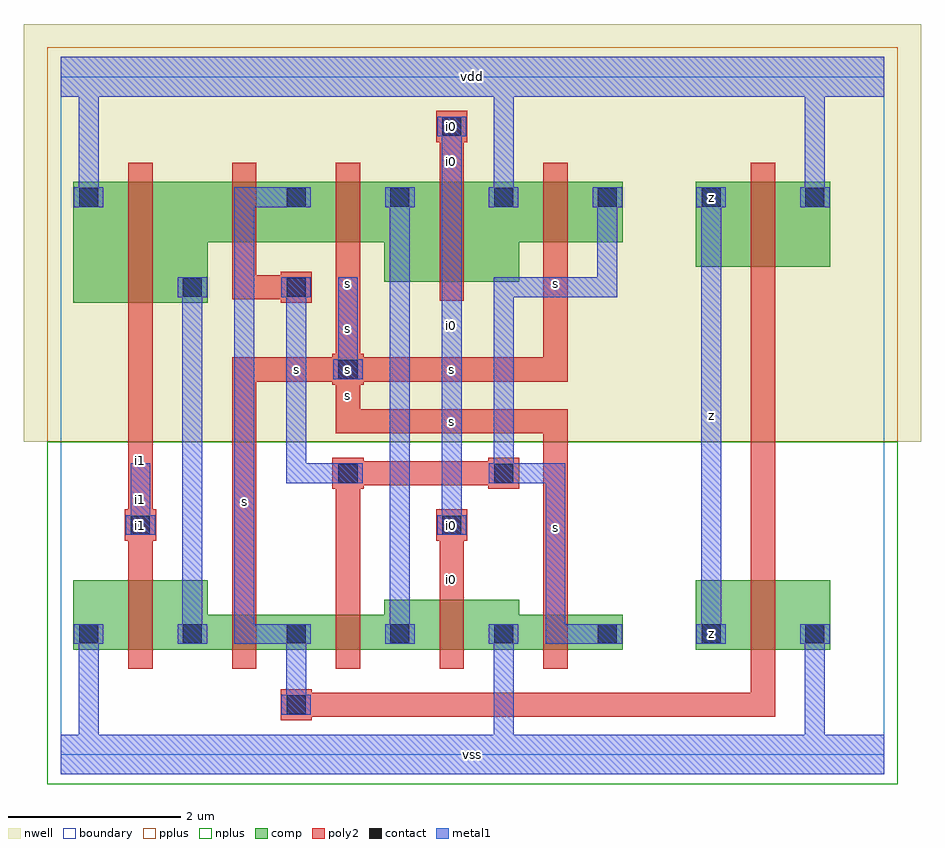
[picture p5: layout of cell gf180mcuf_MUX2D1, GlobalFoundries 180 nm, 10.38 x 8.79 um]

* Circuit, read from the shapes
.subckt gf180mcuf_MUX2D1 i0 i1 s vdd vss z
XM1 n1 i1 vss VSUBS nfet_03v3 w=0.8u l=0.28u
XM2 n2 s n1 VSUBS nfet_03v3 w=0.4u l=0.28u
XM3 n3 n4 n2 VSUBS nfet_03v3 w=0.4u l=0.28u
XM4 vss i0 n3 VSUBS nfet_03v3 w=0.575u l=0.28u
XM5 n4 s vss VSUBS nfet_03v3 w=0.4u l=0.28u
XM6 vss n2 z VSUBS nfet_03v3 w=0.8u l=0.28u
XM7 n1 i1 vdd n5 pfet_03v3 w=1.4u l=0.28u
XM8 n2 n4 n1 n5 pfet_03v3 w=0.7u l=0.28u
XM9 n3 s n2 n5 pfet_03v3 w=0.7u l=0.28u
XM10 vdd i0 n3 n5 pfet_03v3 w=1.155u l=0.28u
XM11 n4 s vdd n5 pfet_03v3 w=0.7u l=0.28u
XM12 vdd n2 z n5 pfet_03v3 w=0.98u l=0.28u
.ends

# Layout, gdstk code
import gdstk
lib = gdstk.Library(unit=1e-6, precision=1e-09)
def R(c, l, rs):  # rectangles x0, y0, x1, y1
    for r in rs: c.add(gdstk.rectangle(r[:2], r[2:], *l))
def A(c, l, x, y, w, h, nx, ny, dx, dy):  # array of equal rectangles
    R(c, l, [(x+i*dx, y+j*dy, x+i*dx+w, y+j*dy+h) for i in range(nx) for j in range(ny)])
boundary = (0, 0)
nwell = (21, 0)
comp = (22, 0)
poly2 = (30, 0)
pplus = (31, 0)
nplus = (32, 0)
contact = (33, 0)
metal1 = (34, 0)

gf180mcuf_mux2d1 = lib.new_cell('gf180mcuf_MUX2D1')
R(gf180mcuf_mux2d1, boundary, [(0,0,9.52,7.84)])
R(gf180mcuf_mux2d1, nwell, [(-0.43,3.62,9.95,8.45)])
A(gf180mcuf_mux2d1, comp, 0.14, 1.215, 0.36, 0.36, 8, 1, 1.2, 0)
A(gf180mcuf_mux2d1, comp, 2.54, 6.265, 0.36, 0.36, 6, 1, 1.2, 0)
R(gf180mcuf_mux2d1, comp, [(0.14,1.215,1.7,2.015), (1.34,1.215,2.9,1.615), (2.54,1.215,4.1,1.615), (3.74,1.215,5.3,1.79), (4.94,1.215,6.5,1.615), (7.34,1.215,8.9,2.015), (0.14,5.225,1.7,6.625), (1.34,5.225,1.7,5.585), (3.74,5.47,5.3,6.625), (7.34,5.645,8.9,6.625), (1.34,5.925,2.9,6.625), (2.54,5.925,4.1,6.625), (4.94,5.925,6.5,6.625), (0.14,6.265,0.5,6.625)])
R(gf180mcuf_mux2d1, poly2, [(2.54,0.395,2.9,0.755), (2.58,0.435,8.26,0.715), (7.98,0.435,8.26,1.535), (0.78,0.995,1.06,2.235), (1.98,0.995,2.26,1.835), (3.18,0.995,3.46,1.835), (4.38,0.995,4.66,2.01), (5.58,0.995,5.86,1.835), (7.98,0.995,8.26,2.235), (0.78,1.255,1.06,5.545), (1.98,1.255,2.26,4.595), (3.18,1.255,3.46,3.395), (4.38,1.255,4.66,2.795), (5.58,1.255,5.86,3.995), (7.98,1.255,8.26,6.585), (0.74,2.475,1.1,2.835), (4.34,2.475,4.7,2.835), (3.14,3.075,3.5,3.435), (4.94,3.075,5.3,3.435), (3.18,3.115,5.26,3.395), (3.18,3.715,5.86,3.995), (3.18,3.715,3.46,4.595), (3.14,4.275,3.5,4.635), (1.98,4.315,3.46,4.595), (3.18,4.315,3.46,6.585), (3.18,4.315,5.86,4.595), (5.58,4.315,5.86,6.585), (0.78,5.005,1.06,6.845), (2.54,5.225,2.9,5.585), (4.38,5.25,4.66,6.845), (1.98,5.265,2.86,5.545), (1.98,5.265,2.26,6.585), (7.98,5.425,8.26,6.845), (1.98,5.705,2.26,6.845), (3.18,5.705,3.46,6.845), (5.58,5.705,5.86,6.845), (4.38,6.305,4.66,7.405), (4.34,7.085,4.7,7.445)])
R(gf180mcuf_mux2d1, pplus, [(-0.16,3.62,9.68,7.5), (-0.16,7.5,9.68,8.18)])
R(gf180mcuf_mux2d1, nplus, [(-0.16,-0.34,9.68,0.34), (-0.16,0.34,9.68,3.62)])
A(gf180mcuf_mux2d1, contact, 0.21, 1.285, 0.22, 0.22, 8, 1, 1.2, 0)
A(gf180mcuf_mux2d1, contact, 2.61, 6.335, 0.22, 0.22, 6, 1, 1.2, 0)
R(gf180mcuf_mux2d1, contact, [(2.61,0.465,2.83,0.685), (0.81,2.545,1.03,2.765), (4.41,2.545,4.63,2.765), (3.21,3.145,3.43,3.365), (5.01,3.145,5.23,3.365), (3.21,4.345,3.43,4.565), (1.41,5.295,1.63,5.515), (2.61,5.295,2.83,5.515), (0.21,6.335,0.43,6.555), (4.41,7.155,4.63,7.375)])
A(gf180mcuf_mux2d1, metal1, 0.15, 1.28, 0.34, 0.23, 8, 1, 1.2, 0)
A(gf180mcuf_mux2d1, metal1, 2.55, 6.33, 0.34, 0.23, 6, 1, 1.2, 0)
R(gf180mcuf_mux2d1, metal1, [(0,-0.23,9.52,0.23), (0.205,0.065,0.435,1.51), (5.005,0.065,5.235,1.51), (8.605,0.065,8.835,1.51), (2.55,0.46,2.89,0.69), (2.605,0.46,2.835,1.51), (1.405,1.28,1.635,5.52), (2.005,1.28,2.835,1.51), (2.005,1.28,2.235,6.56), (3.805,1.28,4.035,6.56), (5.605,1.28,6.435,1.51), (5.605,1.28,5.835,3.37), (7.405,1.28,7.635,6.56), (0.75,2.54,1.09,2.77), (0.805,2.54,1.035,3.37), (4.35,2.54,4.69,2.77), (4.405,2.54,4.635,7.38), (2.605,3.14,3.435,3.37), (2.605,3.14,2.835,5.52), (3.15,3.14,3.49,3.37), (4.95,3.14,5.29,3.37), (5.005,3.14,5.835,3.37), (5.005,3.14,5.235,5.52), (3.15,4.34,3.49,4.57), (3.205,4.34,3.435,5.52), (1.35,5.29,1.69,5.52), (2.55,5.29,2.89,5.52), (5.005,5.29,6.435,5.52), (6.205,5.29,6.435,6.56), (0.15,6.33,0.49,6.56), (0.205,6.33,0.435,7.775), (2.005,6.33,2.835,6.56), (5.005,6.33,5.235,7.775), (8.605,6.33,8.835,7.775), (4.35,7.15,4.69,7.38), (0,7.61,9.52,8.07)])
gf180mcuf_mux2d1.add(gdstk.FlexPath([(0.14,0.575),(8.9,0.575)], 0, ends="flush", simple_path=True, layer=0, datatype=0))  # boundary
gf180mcuf_mux2d1.add(gdstk.FlexPath([(0.14,1.395),(8.9,1.395)], 0, ends="flush", simple_path=True, layer=0, datatype=0))  # boundary
gf180mcuf_mux2d1.add(gdstk.FlexPath([(0.14,2.655),(8.9,2.655)], 0, ends="flush", simple_path=True, layer=0, datatype=0))  # boundary
gf180mcuf_mux2d1.add(gdstk.FlexPath([(0.14,3.255),(8.9,3.255)], 0, ends="flush", simple_path=True, layer=0, datatype=0))  # boundary
gf180mcuf_mux2d1.add(gdstk.FlexPath([(0.14,3.855),(8.9,3.855)], 0, ends="flush", simple_path=True, layer=0, datatype=0))  # boundary
gf180mcuf_mux2d1.add(gdstk.FlexPath([(0.14,4.455),(8.9,4.455)], 0, ends="flush", simple_path=True, layer=0, datatype=0))  # boundary
gf180mcuf_mux2d1.add(gdstk.FlexPath([(0.14,5.405),(8.9,5.405)], 0, ends="flush", simple_path=True, layer=0, datatype=0))  # boundary
gf180mcuf_mux2d1.add(gdstk.FlexPath([(0.14,6.445),(8.9,6.445)], 0, ends="flush", simple_path=True, layer=0, datatype=0))  # boundary
gf180mcuf_mux2d1.add(gdstk.FlexPath([(0.14,7.265),(8.9,7.265)], 0, ends="flush", simple_path=True, layer=0, datatype=0))  # boundary
gf180mcuf_mux2d1.add(gdstk.FlexPath([(0.32,0.065),(0.32,7.775)], 0, ends="flush", simple_path=True, layer=0, datatype=0))  # boundary
gf180mcuf_mux2d1.add(gdstk.FlexPath([(0.92,0.065),(0.92,7.775)], 0, ends="flush", simple_path=True, layer=0, datatype=0))  # boundary
gf180mcuf_mux2d1.add(gdstk.FlexPath([(1.52,0.065),(1.52,7.775)], 0, ends="flush", simple_path=True, layer=0, datatype=0))  # boundary
gf180mcuf_mux2d1.add(gdstk.FlexPath([(2.12,0.065),(2.12,7.775)], 0, ends="flush", simple_path=True, layer=0, datatype=0))  # boundary
gf180mcuf_mux2d1.add(gdstk.FlexPath([(2.72,0.065),(2.72,7.775)], 0, ends="flush", simple_path=True, layer=0, datatype=0))  # boundary
gf180mcuf_mux2d1.add(gdstk.FlexPath([(3.32,0.065),(3.32,7.775)], 0, ends="flush", simple_path=True, layer=0, datatype=0))  # boundary
gf180mcuf_mux2d1.add(gdstk.FlexPath([(3.92,0.065),(3.92,7.775)], 0, ends="flush", simple_path=True, layer=0, datatype=0))  # boundary
gf180mcuf_mux2d1.add(gdstk.FlexPath([(4.52,0.065),(4.52,7.775)], 0, ends="flush", simple_path=True, layer=0, datatype=0))  # boundary
gf180mcuf_mux2d1.add(gdstk.FlexPath([(5.12,0.065),(5.12,7.775)], 0, ends="flush", simple_path=True, layer=0, datatype=0))  # boundary
gf180mcuf_mux2d1.add(gdstk.FlexPath([(5.72,0.065),(5.72,7.775)], 0, ends="flush", simple_path=True, layer=0, datatype=0))  # boundary
gf180mcuf_mux2d1.add(gdstk.FlexPath([(6.32,0.065),(6.32,7.775)], 0, ends="flush", simple_path=True, layer=0, datatype=0))  # boundary
gf180mcuf_mux2d1.add(gdstk.FlexPath([(6.92,0.065),(6.92,7.775)], 0, ends="flush", simple_path=True, layer=0, datatype=0))  # boundary
gf180mcuf_mux2d1.add(gdstk.FlexPath([(7.52,0.065),(7.52,7.775)], 0, ends="flush", simple_path=True, layer=0, datatype=0))  # boundary
gf180mcuf_mux2d1.add(gdstk.FlexPath([(8.12,0.065),(8.12,7.775)], 0, ends="flush", simple_path=True, layer=0, datatype=0))  # boundary
gf180mcuf_mux2d1.add(gdstk.FlexPath([(8.72,0.065),(8.72,7.775)], 0, ends="flush", simple_path=True, layer=0, datatype=0))  # boundary
gf180mcuf_mux2d1.add(gdstk.Label('z', (7.52,1.395), layer=22, texttype=0))
gf180mcuf_mux2d1.add(gdstk.Label('z', (7.52,6.445), layer=22, texttype=0))
gf180mcuf_mux2d1.add(gdstk.Label('s', (2.12,2.925), layer=30, texttype=0))
gf180mcuf_mux2d1.add(gdstk.Label('s', (2.72,4.455), layer=30, texttype=0))
gf180mcuf_mux2d1.add(gdstk.Label('s', (3.32,5.45), layer=30, texttype=0))
gf180mcuf_mux2d1.add(gdstk.Label('s', (4.52,4.455), layer=30, texttype=0))
gf180mcuf_mux2d1.add(gdstk.Label('s', (5.72,5.45), layer=30, texttype=0))
gf180mcuf_mux2d1.add(gdstk.Label('s', (5.72,2.625), layer=30, texttype=0))
gf180mcuf_mux2d1.add(gdstk.Label('s', (4.52,3.855), layer=30, texttype=0))
gf180mcuf_mux2d1.add(gdstk.Label('s', (3.32,4.155), layer=30, texttype=0))
gf180mcuf_mux2d1.add(gdstk.Label('s', (3.32,4.455), layer=30, texttype=0))
gf180mcuf_mux2d1.add(gdstk.Label('i1', (0.92,3.4), layer=30, texttype=0))
gf180mcuf_mux2d1.add(gdstk.Label('i1', (0.92,2.655), layer=30, texttype=0))
gf180mcuf_mux2d1.add(gdstk.Label('i0', (4.52,2.025), layer=30, texttype=0))
gf180mcuf_mux2d1.add(gdstk.Label('i0', (4.52,2.655), layer=30, texttype=0))
gf180mcuf_mux2d1.add(gdstk.Label('i0', (4.52,7.265), layer=30, texttype=0))
gf180mcuf_mux2d1.add(gdstk.Label('i0', (4.52,6.855), layer=30, texttype=0))
gf180mcuf_mux2d1.add(gdstk.Label('s', (3.32,4.455), layer=33, texttype=0))
gf180mcuf_mux2d1.add(gdstk.Label('i1', (0.92,2.655), layer=33, texttype=0))
gf180mcuf_mux2d1.add(gdstk.Label('i0', (4.52,2.655), layer=33, texttype=0))
gf180mcuf_mux2d1.add(gdstk.Label('i0', (4.52,7.265), layer=33, texttype=0))
gf180mcuf_mux2d1.add(gdstk.Label('z', (7.52,1.395), layer=33, texttype=0))
gf180mcuf_mux2d1.add(gdstk.Label('z', (7.52,6.445), layer=33, texttype=0))
gf180mcuf_mux2d1.add(gdstk.Label('s', (3.32,4.455), layer=34, texttype=10))
gf180mcuf_mux2d1.add(gdstk.Label('s', (3.32,4.93), layer=34, texttype=10))
gf180mcuf_mux2d1.add(gdstk.Label('i1', (0.92,2.655), layer=34, texttype=10))
gf180mcuf_mux2d1.add(gdstk.Label('i1', (0.92,2.955), layer=34, texttype=10))
gf180mcuf_mux2d1.add(gdstk.Label('i0', (4.52,2.655), layer=34, texttype=10))
gf180mcuf_mux2d1.add(gdstk.Label('i0', (4.52,4.96), layer=34, texttype=10))
gf180mcuf_mux2d1.add(gdstk.Label('i0', (4.52,7.265), layer=34, texttype=10))
gf180mcuf_mux2d1.add(gdstk.Label('z', (7.52,1.395), layer=34, texttype=10))
gf180mcuf_mux2d1.add(gdstk.Label('z', (7.52,6.445), layer=34, texttype=10))
gf180mcuf_mux2d1.add(gdstk.Label('z', (7.52,3.92), layer=34, texttype=10))
gf180mcuf_mux2d1.add(gdstk.Label('vss', (4.76,0), layer=34, texttype=10))
gf180mcuf_mux2d1.add(gdstk.Label('vdd', (4.76,7.84), layer=34, texttype=10))

lib.write_gds('gf180mcuf_MUX2D1.gds')
